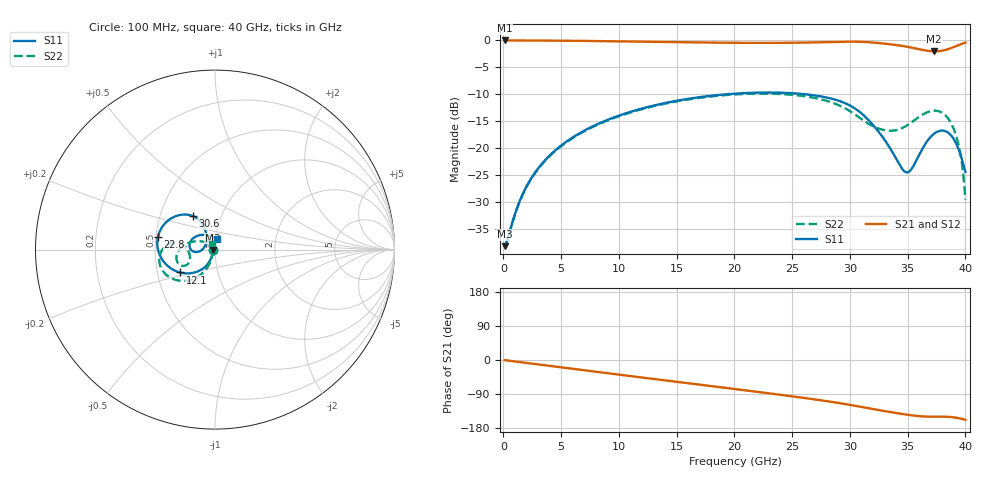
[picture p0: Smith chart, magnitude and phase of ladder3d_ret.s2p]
# Hz S RI R 50
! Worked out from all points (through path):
!   400 points, 100 MHz to 40 GHz, reference 50 ohm
!   highest |S21| = -0.11 dB at 100 MHz (marker M1); lowest = -2.1 dB at 37.3 GHz (marker M2)
!   group delay of S21, straight-line fit = 11.2 ps
!   lowest |S11| = -38.2 dB at 100 MHz (marker M3), VSWR 1.02, Z = 48.8 - j0.198 ohm
!   |S11| at or under -10 dB: start of sweep to 19.76 GHz; 25.78 GHz to end of sweep
!   |S22| runs from -38.2 to -9.9 dB; largest |S21 - S12| = 0
!   S11 on the Smith chart (normalised r, x): 100 MHz: 0.98, -0.00; 12.1 GHz: 0.65, -0.18; 22.8 GHz: 0.51, +0.08; 30.6 GHz: 0.73, +0.29; 40 GHz: 1.01, +0.12
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1e8  -0.0121 -0.00203  0.9879 -0.00671  0.9879 -0.00671  -0.0121 -0.00203
1.4e9  -0.0153 -0.0282  0.983 -0.0937  0.983 -0.0937  -0.0144 -0.0283
2.6e9  -0.023 -0.0513  0.9712 -0.1731  0.9712 -0.1731  -0.0198 -0.0519
4.4e9  -0.0426 -0.0827  0.9404 -0.2891  0.9404 -0.2891  -0.0338 -0.0854
6.8e9  -0.0815 -0.1145  0.8769 -0.4345  0.8769 -0.4345  -0.0623 -0.124
1.21e10  -0.1949 -0.1276  0.6608 -0.6993  0.6608 -0.6993  -0.1527 -0.172
1.34e10  -0.2229 -0.1175  0.5955 -0.75  0.5955 -0.75  -0.1776 -0.1743
2.01e10  -0.3181 0.00258  0.2141 -0.915  0.2141 -0.915  -0.2874 -0.1235
2.28e10  -0.3181 0.0694  0.0461 -0.937  0.0461 -0.937  -0.3084 -0.0778
2.67e10  -0.264 0.1596  -0.2112 -0.9225  -0.2112 -0.9225  -0.2933 -0.000764
2.88e10  -0.2014 0.1915  -0.3629 -0.8857  -0.3629 -0.8857  -0.2521 0.0333
3.06e10  -0.1248 0.1875  -0.5046 -0.8194  -0.5046 -0.8194  -0.1951 0.0362
3.2e10  -0.0725 0.1458  -0.6014 -0.7292  -0.6014 -0.7292  -0.1582 0.00833
3.34e10  -0.0491 0.0899  -0.6662 -0.6245  -0.6662 -0.6245  -0.1416 -0.0271
3.45e10  -0.0481 0.0428  -0.697 -0.5382  -0.697 -0.5382  -0.1402 -0.0582
3.5e10  -0.0551 0.0217  -0.7028 -0.4992  -0.7028 -0.4992  -0.1457 -0.0724
3.73e10  -0.1356 0.00162  -0.6757 -0.3954  -0.6757 -0.3954  -0.2121 -0.063
3.83e10  -0.133 0.0505  -0.6983 -0.4078  -0.6983 -0.4078  -0.1985 -0.000115
3.91e10  -0.082 0.0808  -0.7649 -0.4097  -0.7649 -0.4097  -0.133 0.0419
3.96e10  -0.0329 0.0782  -0.8242 -0.3896  -0.8242 -0.3896  -0.0709 0.0451
3.98e10  -0.012 0.0707  -0.8494 -0.375  -0.8494 -0.375  -0.0438 0.0392
4e10  0.00861 0.0592  -0.8745 -0.3563  -0.8745 -0.3563  -0.0166 0.0288
